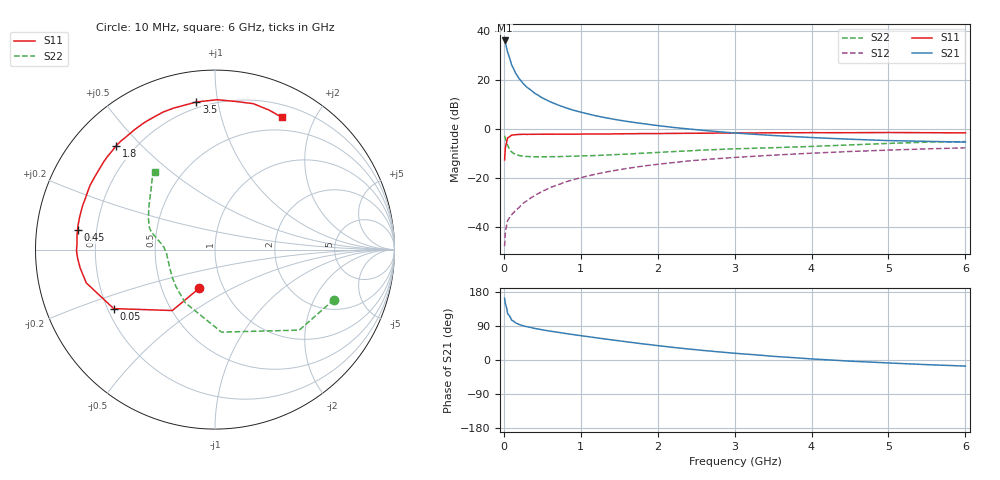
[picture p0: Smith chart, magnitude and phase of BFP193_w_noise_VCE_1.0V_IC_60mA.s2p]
! Infineon Technologies  Discrete & RF Semiconductors
! BFP193
! VCE =  1.0 V,  IC =  60 mA
! Common Emitter S-Parameters:  Jan 2017
# GHz  S  MA  R  50
!  f  S11  S21  S12  S22
! GHz  MAG  ANG  MAG  ANG  MAG  ANG  MAG  ANG
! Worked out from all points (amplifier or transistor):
!   77 points, 10 MHz to 6 GHz, reference 50 ohm
!   highest |S21| = 36.1 dB at 10 MHz (marker M1)
!   |S21| within 3 dB of that: start of sweep to 35.32 MHz
!   unconditionally stable (mu >= 1): 263.7 MHz to end of sweep
!   at 130 MHz: K = 0.79, MSG = 29.2 dB, |S12| = -34.1 dB
!   at 2.2 GHz: K = 1.07, MAG = 5.6 dB, |S12| = -13.8 dB
!   at 6 GHz: K = 1.03, MAG = 0.1 dB, |S12| = -7.8 dB
!   lowest NFmin = 1.67 dB at 450 MHz
!   S11 on the Smith chart (normalised r, x): 10 MHz: 0.77, -0.35; 50 MHz: 0.22, -0.26; 450 MHz: 0.13, +0.07; 1.8 GHz: 0.13, +0.42; 3.5 GHz: 0.17, +0.87; 6 GHz: 0.34, +1.57
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0.01  0.2315 -112.1  63.79 162.7  0.004 77.2  0.7189 -22.8
0.02  0.4144 -125.0  57.13 148.1  0.0076 67.2  0.6494 -43.7
0.05  0.6533 -149.8  35.98 121.9  0.0134 53.3  0.4612 -85.5
0.1  0.7409 -165.5  20.37 105.4  0.0174 51.9  0.3389 -119.5
0.15  0.7584 -172.3  13.93 98.3  0.0213 55.1  0.2996 -136.6
0.2  0.767 -176.4  10.55 93.7  0.0248 59.6  0.2843 -146.7
0.25  0.7717 -179.6  8.468 90.3  0.0302 61.8  0.2756 -153.3
0.3  0.7697 177.9  7.071 87.8  0.0338 63.6  0.2719 -158.3
0.4  0.7731 173.8  5.341 83.3  0.0434 66.3  0.2683 -164.6
0.45  0.7736 172.0  4.807 81.7  0.048 66.8  0.268 -166.6
0.5  0.7748 170.2  4.277 79.6  0.0527 67.2  0.268 -168.7
0.6  0.7755 167.1  3.585 76.2  0.0626 67.2  0.2696 -172.0
0.7  0.7761 164.1  3.08 73.3  0.0714 67.4  0.2696 -174.6
0.9  0.7764 158.4  2.408 67.1  0.0909 66.0  0.2754 -178.1
1.1  0.7829 152.7  1.999 61.5  0.1096 64.3  0.2817 178.9
1.8  0.7989 133.7  1.281 42.7  0.1723 54.9  0.3169 171.1
2.1  0.8018 125.9  1.115 35.7  0.196 50.5  0.3353 168.5
3.1  0.8211 104.5  0.802 16.3  0.2656 36.4  0.394 159.3
3.5  0.829 97.2  0.73 9.7  0.2897 31.6  0.4107 154.5
4.1  0.8337 87.7  0.652 1.7  0.3226 24.1  0.4425 146.1
5.1  0.8384 74.0  0.57 -8.7  0.3714 12.2  0.5085 133.9
6  0.826 63.2  0.535 -16.1  0.4087 2.0  0.5465 127.4
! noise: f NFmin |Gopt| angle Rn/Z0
0.45  1.67  0.48  -170  0.1
0.9  1.73  0.49  -163  0.1
1.9  2.41  0.62  -131  0.27
2.4  2.75  0.65  -118  0.56
